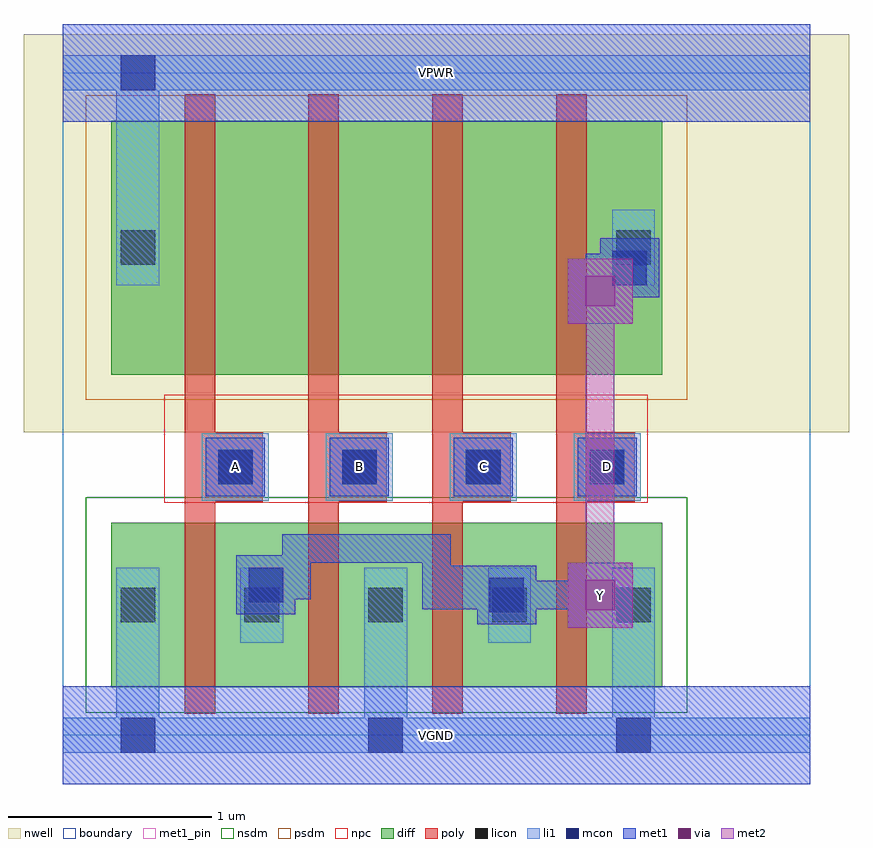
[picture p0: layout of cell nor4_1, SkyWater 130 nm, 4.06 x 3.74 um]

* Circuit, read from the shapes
.subckt nor4_1 A B C D VGND VPWR Y
XM1 Y A VGND VSUBS sky130_fd_pr__nfet_01v8 w=0.81 l=0.15
XM2 VGND B Y VSUBS sky130_fd_pr__nfet_01v8 w=0.81 l=0.15
XM3 Y C VGND VSUBS sky130_fd_pr__nfet_01v8 w=0.81 l=0.15
XM4 VGND D Y VSUBS sky130_fd_pr__nfet_01v8 w=0.81 l=0.15
XM5 n1 A VPWR n2 sky130_fd_pr__pfet_01v8 w=1.25 l=0.15
XM6 n3 B n1 n2 sky130_fd_pr__pfet_01v8 w=1.25 l=0.15
XM7 n4 C n3 n2 sky130_fd_pr__pfet_01v8 w=1.25 l=0.15
XM8 Y D n4 n2 sky130_fd_pr__pfet_01v8 w=1.25 l=0.15
.ends

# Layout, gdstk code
import gdstk
lib = gdstk.Library(unit=1e-6, precision=1e-09)
def R(c, l, rs):  # rectangles x0, y0, x1, y1
    for r in rs: c.add(gdstk.rectangle(r[:2], r[2:], *l))
def A(c, l, x, y, w, h, nx, ny, dx, dy):  # array of equal rectangles
    R(c, l, [(x+i*dx, y+j*dy, x+i*dx+w, y+j*dy+h) for i in range(nx) for j in range(ny)])
nwell = (64, 20)
diff = (65, 20)
poly = (66, 20)
licon = (66, 44)
li1 = (67, 20)
mcon = (67, 44)
met1_pin = (68, 16)
met1 = (68, 20)
via = (68, 44)
met2 = (69, 20)
nsdm = (93, 44)
psdm = (94, 20)
npc = (95, 20)
boundary = (235, 4)

nor4_1 = lib.new_cell('nor4_1')
R(nor4_1, nwell, [(-0.19,1.49,3.87,3.45), (0,1.49,3.68,3.45)])
R(nor4_1, diff, [(0.24,0.235,2.95,1.045), (0.24,1.775,2.95,3.025)])
A(nor4_1, poly, 0.6, 0.105, 0.15, 3.05, 4, 1, 0.61, 0)
A(nor4_1, poly, 0.6, 1.15, 0.385, 0.34, 4, 1, 0.61, 0)
A(nor4_1, licon, 0.285, 0.555, 0.17, 0.17, 5, 1, 0.61, 0)
A(nor4_1, licon, 0.765, 1.235, 0.17, 0.17, 4, 1, 0.61, 0)
R(nor4_1, licon, [(0.285,2.315,0.455,2.485), (2.725,2.315,2.895,2.485)])
A(nor4_1, li1, 0.265, -0.085, 0.21, 0.91, 3, 1, 1.22, 0)
A(nor4_1, li1, 0.685, 1.155, 0.33, 0.33, 4, 1, 0.61, 0)
R(nor4_1, li1, [(0,-0.085,3.68,0.085), (0.875,0.455,1.085,0.825), (2.095,0.455,2.305,0.825), (0.265,2.215,0.475,3.345), (2.705,2.215,2.915,2.585), (0,3.175,3.68,3.345)])
A(nor4_1, mcon, 0.285, -0.085, 0.17, 0.17, 3, 1, 1.22, 0)
A(nor4_1, mcon, 0.765, 1.235, 0.17, 0.17, 4, 1, 0.61, 0)
R(nor4_1, mcon, [(2.1,0.605,2.27,0.775), (0.915,0.655,1.085,0.825), (2.705,2.215,2.875,2.385), (0.285,3.175,0.455,3.345)])
A(nor4_1, met1_pin, 0.705, 1.175, 0.29, 0.29, 4, 1, 0.61, 0)
R(nor4_1, met1_pin, [(0,-0.24,3.68,0.24), (2.485,0.53,2.805,0.85), (0,3.02,3.68,3.5)])
A(nor4_1, met1, 0.705, 1.175, 0.29, 0.29, 4, 1, 0.61, 0)
R(nor4_1, met1, [(0,-0.24,3.68,0.24), (2.485,0.53,2.805,0.85), (2.04,0.545,2.33,0.835), (0.855,0.595,1.145,0.885), (1.77,0.62,2.255,0.76), (1.77,0.62,1.91,0.99), (1.91,0.62,2.04,0.835), (2.115,0.62,2.715,0.76), (0.93,0.67,1.22,0.81), (1.08,0.67,1.22,0.99), (1.08,0.85,1.91,0.99), (2.485,2.025,2.805,2.345), (2.575,2.115,2.715,2.37), (2.645,2.155,2.935,2.445), (2.575,2.23,2.86,2.37), (0,3.02,3.68,3.5)])
R(nor4_1, via, [(2.57,0.615,2.72,0.765), (2.57,2.11,2.72,2.26)])
R(nor4_1, met2, [(2.485,0.53,2.805,0.85), (2.575,0.62,2.715,2.255), (2.485,2.025,2.805,2.345)])
R(nor4_1, nsdm, [(0.115,0.11,3.075,1.17)])
R(nor4_1, psdm, [(0.115,1.65,3.075,3.15)])
R(nor4_1, npc, [(0.5,1.145,2.88,1.675)])
R(nor4_1, boundary, [(0,0,3.68,3.26)])
nor4_1.add(gdstk.Label('A', (0.85,1.32), layer=68, texttype=5))
nor4_1.add(gdstk.Label('B', (1.46,1.32), layer=68, texttype=5))
nor4_1.add(gdstk.Label('C', (2.07,1.32), layer=68, texttype=5))
nor4_1.add(gdstk.Label('D', (2.68,1.32), layer=68, texttype=5))
nor4_1.add(gdstk.Label('Y', (2.645,0.69), layer=68, texttype=5))
nor4_1.add(gdstk.Label('VPWR', (1.84,3.26), layer=68, texttype=5))
nor4_1.add(gdstk.Label('VGND', (1.84,0), layer=68, texttype=5))
nor4_1.add(gdstk.Label('A', (0.85,1.32), layer=68, texttype=16))
nor4_1.add(gdstk.Label('B', (1.46,1.32), layer=68, texttype=16))
nor4_1.add(gdstk.Label('C', (2.07,1.32), layer=68, texttype=16))
nor4_1.add(gdstk.Label('D', (2.68,1.32), layer=68, texttype=16))
nor4_1.add(gdstk.Label('Y', (2.645,0.69), layer=68, texttype=16))
nor4_1.add(gdstk.Label('VPWR', (1.84,3.26), layer=68, texttype=16))
nor4_1.add(gdstk.Label('VGND', (1.84,0), layer=68, texttype=16))

lib.write_gds('nor4_1.gds')
